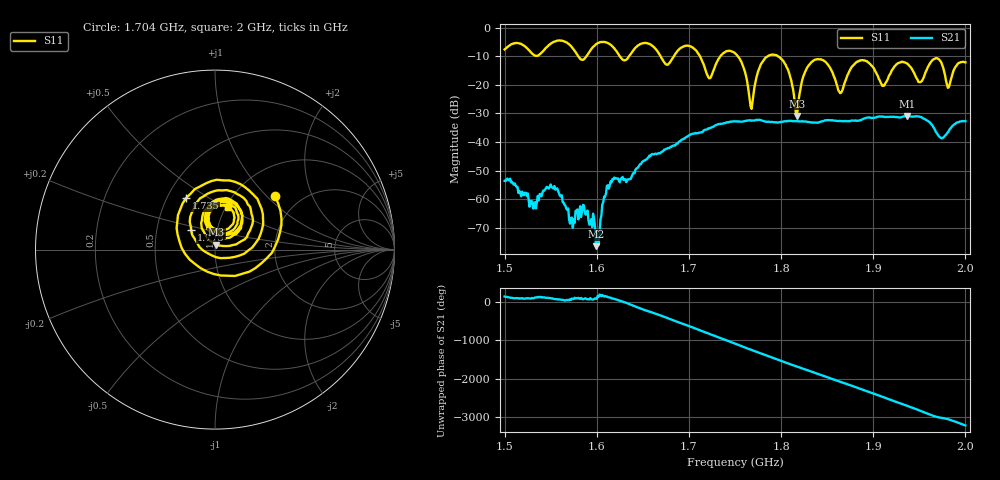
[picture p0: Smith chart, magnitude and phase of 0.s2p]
! NanoVNA-App by SYSJOINT et al v1.1.209 (+OD18)
! Date: 2026-01-21 14:42:51
! Start: 1,5GHz Stop: 2GHz Points: 501
! S-Parameter data: F S11 S21 S12 S22
# Hz S RI R 50
!  Frequency  S11_Real  S11_Imag  S21_Real  S21_Imag  S12_Real  S12_Imag  S22_Real  S22_Imag
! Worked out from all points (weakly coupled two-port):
!   501 points, 1.5 GHz to 2 GHz, reference 50 ohm
!   highest |S21| = -30.86 dB at 1.937 GHz (marker M1); lowest = -76.4 dB at 1.599 GHz (marker M2)
!   lowest |S11| = -30.9 dB at 1.817 GHz (marker M3), VSWR 1.06, Z = 50.7 + j2.78 ohm
!   |S11| at or under -10 dB: 1.712 GHz to 1.734 GHz (22.1 MHz wide, 1.28 % of centre); 1.753 GHz to 1.785 GHz (32.38 MHz wide, 1.83 % of centre); 1.797 GHz to end of sweep (the widest 3 of 6)
!   S12 and S22 are empty: the file has one direction only
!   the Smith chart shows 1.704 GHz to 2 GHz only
!   S11 on the Smith chart (normalised r, x): 1.704 GHz: 1.49, +1.13; 1.735 GHz: 0.62, +0.40; 1.775 GHz: 0.75, +0.17; 2 GHz: 1.02, +0.51
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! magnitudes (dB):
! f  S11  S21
! 1.5 GHz  -7.6  -53.6
! 1.584 GHz  -11.2  -64.2
! 1.599 GHz  -5.8  -76.4
! 1.617 GHz  -6.5  -52.9
! 1.667 GHz  -8.8  -43.9
! 1.704 GHz  -6.9  -37.1
! 1.722 GHz  -17.7  -35.2
! 1.735 GHz  -9.6  -33.7
! 1.75 GHz  -8.9  -32.8
! 1.767 GHz  -27.6  -32.5
! 1.775 GHz  -15.3  -32.2
! 1.8 GHz  -10.9  -32.9
! 1.817 GHz  -30.9  -32.7
! 1.834 GHz  -11.8  -33.2
! 1.864 GHz  -22.9  -32.7
! 1.886 GHz  -11.4  -32.3
! 1.917 GHz  -16.9  -31.2
! 1.937 GHz  -12.6  -30.9
! 1.951 GHz  -19.1  -31.2
! 1.97 GHz  -10.8  -37.3
! 1.981 GHz  -21.0  -36.5
! 2 GHz  -12.2  -32.7
